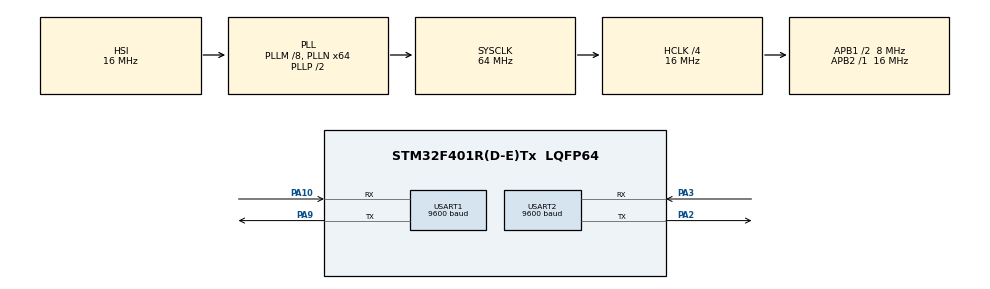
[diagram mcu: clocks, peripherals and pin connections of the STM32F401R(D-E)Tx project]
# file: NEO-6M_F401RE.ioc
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Dma.Request0=USART1_RX
Dma.USART1_RX.0.Direction=DMA_PERIPH_TO_MEMORY
Dma.USART1_RX.0.FIFOMode=DMA_FIFOMODE_DISABLE
Dma.USART1_RX.0.Instance=DMA2_Stream2
Dma.USART1_RX.0.MemDataAlignment=DMA_MDATAALIGN_BYTE
Dma.USART1_RX.0.MemInc=DMA_MINC_ENABLE
Dma.USART1_RX.0.Mode=DMA_CIRCULAR
Dma.USART1_RX.0.PeriphDataAlignment=DMA_PDATAALIGN_BYTE
Dma.USART1_RX.0.PeriphInc=DMA_PINC_DISABLE
Dma.USART1_RX.0.Priority=DMA_PRIORITY_LOW
Mcu.Family=STM32F4
Mcu.Name=STM32F401R(D-E)Tx
Mcu.Package=LQFP64
NVIC.DMA2_Stream2_IRQn=true\:0\:0\:false\:false\:true\:false\:true\:true
NVIC.PriorityGroup=NVIC_PRIORITYGROUP_4
PA10.Mode=Asynchronous
PA10.Signal=USART1_RX
PA13.Mode=Serial_Wire
PA13.Signal=SYS_JTMS-SWDIO
PA14.Mode=Serial_Wire
PA14.Signal=SYS_JTCK-SWCLK
PA2.Mode=Asynchronous
PA2.Signal=USART2_TX
PA3.Mode=Asynchronous
PA3.Signal=USART2_RX
PA9.Mode=Asynchronous
PA9.Signal=USART1_TX
PC14-OSC32_IN.Mode=LSE-External-Oscillator
PC14-OSC32_IN.Signal=RCC_OSC32_IN
PC15-OSC32_OUT.Mode=LSE-External-Oscillator
PC15-OSC32_OUT.Signal=RCC_OSC32_OUT
PH0\ -\ OSC_IN.Mode=HSE-External-Oscillator
PH0\ -\ OSC_IN.Signal=RCC_OSC_IN
PH1\ -\ OSC_OUT.Mode=HSE-External-Oscillator
PH1\ -\ OSC_OUT.Signal=RCC_OSC_OUT
ProjectManager.HeapSize=0x200
ProjectManager.StackSize=0x400
ProjectManager.TargetToolchain=STM32CubeIDE
RCC.48MHZClocksFreq_Value=32000000
RCC.AHBCLKDivider=RCC_SYSCLK_DIV4
RCC.AHBFreq_Value=16000000
RCC.APB1CLKDivider=RCC_HCLK_DIV2
RCC.APB1Freq_Value=8000000
RCC.APB1TimFreq_Value=16000000
RCC.APB2Freq_Value=16000000
RCC.APB2TimFreq_Value=16000000
RCC.CortexFreq_Value=16000000
RCC.HCLKFreq_Value=16000000
RCC.HSE_VALUE=25000000
RCC.HSI_VALUE=16000000
RCC.PLLM=8
RCC.PLLN=64
RCC.SYSCLKFreq_VALUE=64000000
RCC.SYSCLKSource=RCC_SYSCLKSOURCE_PLLCLK
RCC.VCOOutputFreq_Value=128000000
USART1.BaudRate=9600
USART1.VirtualMode=VM_ASYNC
USART2.BaudRate=9600
USART2.VirtualMode=VM_ASYNC
board=custom

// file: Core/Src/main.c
/* USER CODE BEGIN Header */
/**
  ******************************************************************************
  * @file           : main.c
  * @brief          : Main program body
  ******************************************************************************
  * @attention
  *
  * Copyright (c) 2025 STMicroelectronics.
  * All rights reserved.
  *
  * This software is licensed under terms that can be found in the LICENSE file
  * in the root directory of this software component.
  * If no LICENSE file comes with this software, it is provided AS-IS.
  *
  ******************************************************************************
  */
/* USER CODE END Header */
#include "main.h"
#include "dma.h"
#include "usart.h"
#include "gpio.h"

#include <stdio.h>
#include <stdint.h>
#include <string.h>
#include <stdlib.h>

/* USER CODE BEGIN PV */

	uint8_t Rxdata[750];
	char Txdata[750];
	char GPS_Payload[100];
	uint8_t flag = 0;
	static int MsgIndex;
	char *ptr;

	float Time, Latitude, Longitude;
	int Hours, Min, Sec;

/* USER CODE END PV */

void SystemClock_Config(void);
/* USER CODE BEGIN PFP */

void get_location(void);
void format_data(float Time, float Lat, float Long);

/* USER CODE END PFP */

int main(void)
{

  /* MCU Configuration--------------------------------------------------------*/

  /* Reset of all peripherals, Initializes the Flash interface and the Systick. */
  HAL_Init();

  /* Configure the system clock */
  SystemClock_Config();

  /* Initialize all configured peripherals */
  MX_GPIO_Init();
  MX_DMA_Init();
  MX_USART1_UART_Init();
  MX_USART2_UART_Init();
  /* USER CODE BEGIN 2 */

  HAL_UART_Receive_DMA(&huart1, (uint8_t*)Rxdata, 700);
  HAL_UART_Transmit(&huart2, (uint8_t*)"HII", 3, HAL_MAX_DELAY);

  /* USER CODE END 2 */

  /* Infinite loop */
  while (1)
  {

    /* USER CODE BEGIN 3 */
	  HAL_UART_Transmit(&huart2, (uint8_t*)"HII", 3, HAL_MAX_DELAY);
	  get_location();
	  HAL_Delay(1000);
  }
  /* USER CODE END 3 */
}

void SystemClock_Config(void)
{
  RCC_OscInitTypeDef RCC_OscInitStruct = {0};
  RCC_ClkInitTypeDef RCC_ClkInitStruct = {0};

  /** Configure the main internal regulator output voltage
  */
  __HAL_RCC_PWR_CLK_ENABLE();
  __HAL_PWR_VOLTAGESCALING_CONFIG(PWR_REGULATOR_VOLTAGE_SCALE2);

  /** Initializes the RCC Oscillators according to the specified parameters
  * in the RCC_OscInitTypeDef structure.
  */
  RCC_OscInitStruct.OscillatorType = RCC_OSCILLATORTYPE_HSI;
  RCC_OscInitStruct.HSIState = RCC_HSI_ON;
  RCC_OscInitStruct.HSICalibrationValue = RCC_HSICALIBRATION_DEFAULT;
  RCC_OscInitStruct.PLL.PLLState = RCC_PLL_ON;
  RCC_OscInitStruct.PLL.PLLSource = RCC_PLLSOURCE_HSI;
  RCC_OscInitStruct.PLL.PLLM = 8;
  RCC_OscInitStruct.PLL.PLLN = 64;
  RCC_OscInitStruct.PLL.PLLP = RCC_PLLP_DIV2;
  RCC_OscInitStruct.PLL.PLLQ = 4;
  if (HAL_RCC_OscConfig(&RCC_OscInitStruct) != HAL_OK)
  {
    Error_Handler();
  }

  /** Initializes the CPU, AHB and APB buses clocks
  */
  RCC_ClkInitStruct.ClockType = RCC_CLOCKTYPE_HCLK|RCC_CLOCKTYPE_SYSCLK
                              |RCC_CLOCKTYPE_PCLK1|RCC_CLOCKTYPE_PCLK2;
  RCC_ClkInitStruct.SYSCLKSource = RCC_SYSCLKSOURCE_PLLCLK;
  RCC_ClkInitStruct.AHBCLKDivider = RCC_SYSCLK_DIV4;
  RCC_ClkInitStruct.APB1CLKDivider = RCC_HCLK_DIV2;
  RCC_ClkInitStruct.APB2CLKDivider = RCC_HCLK_DIV1;

  if (HAL_RCC_ClockConfig(&RCC_ClkInitStruct, FLASH_LATENCY_0) != HAL_OK)
  {
    Error_Handler();
  }
}

/* USER CODE BEGIN 4 */

void HAL_UART_RxCpltCallback(UART_HandleTypeDef *huart){
	flag = 1;
}

void get_location(void){
	if(flag == 1){

		MsgIndex = 0;
		strcpy(Txdata, (char*)(Rxdata));
		ptr = strstr(Txdata, "GPRMC");

		if(*ptr == 'G'){

			while(1){

				GPS_Payload[MsgIndex] = *ptr;
				MsgIndex++;
				*ptr = *(ptr + MsgIndex);

				if(*ptr == '\n'){
					GPS_Payload[MsgIndex] = '\0';
					break;

				}
			}

			sscanf(GPS_Payload, "GPRMC, %f, A, %f, N, %f,", &Time, &Latitude, &Longitude);
			format_data(Time, Latitude, Longitude);
			HAL_Delay(1);
			flag = 0;
		}
	}
}

void format_data(float Time, float Lat, float Long){

	char Data[100];
	Hours = (int) Time / 10000;
	Min = (int)(Time - (Hours*10000))/100;
	Sec = (int)(Time - ((Hours*10000) * (Min*100)));
	sprintf(Data, "\r\nTime = %d:%d:%d Latitude = %f Long = %f", Hours+3, Min, Sec, Latitude, Longitude);
	HAL_UART_Transmit(&huart2, (uint8_t*)Data, strlen(Data), HAL_MAX_DELAY);
	HAL_UART_Transmit(&huart2, (uint8_t*)"\r\n\n", 3, HAL_MAX_DELAY);
}

/* USER CODE END 4 */

void Error_Handler(void)
{
  __disable_irq();
  while (1)
  {
  }
}
